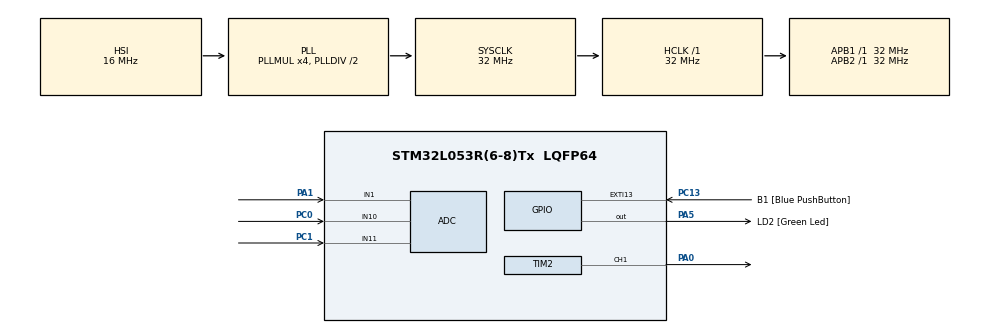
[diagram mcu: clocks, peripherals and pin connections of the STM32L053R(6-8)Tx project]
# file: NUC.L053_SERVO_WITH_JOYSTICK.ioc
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ADC.ContinuousConvMode=ENABLE
ADC.SamplingTime=ADC_SAMPLETIME_160CYCLES_5
Dma.ADC.0.Direction=DMA_PERIPH_TO_MEMORY
Dma.ADC.0.Instance=DMA1_Channel1
Dma.ADC.0.MemDataAlignment=DMA_MDATAALIGN_WORD
Dma.ADC.0.MemInc=DMA_MINC_ENABLE
Dma.ADC.0.Mode=DMA_CIRCULAR
Dma.ADC.0.PeriphDataAlignment=DMA_PDATAALIGN_WORD
Dma.ADC.0.PeriphInc=DMA_PINC_DISABLE
Dma.ADC.0.Priority=DMA_PRIORITY_LOW
Dma.Request0=ADC
Mcu.Family=STM32L0
Mcu.Name=STM32L053R(6-8)Tx
Mcu.Package=LQFP64
NVIC.DMA1_Channel1_IRQn=true\:0\:0\:false\:false\:true\:false\:true\:true
PA0.Signal=S_TIM2_CH1
PA1.Mode=IN1
PA1.Signal=ADC_IN1
PA13.GPIO_Label=TMS
PA13.Signal=SYS_SWDIO
PA14.GPIO_Label=TCK
PA14.Signal=SYS_SWCLK
PA2.GPIO_Label=USART_TX
PA2.Signal=USART2_TX
PA3.GPIO_Label=USART_RX
PA3.Signal=USART2_RX
PA5.GPIO_Label=LD2 [Green Led]
PA5.Signal=GPIO_Output
PC0.Mode=IN10
PC0.Signal=ADC_IN10
PC1.Mode=IN11
PC1.Signal=ADC_IN11
PC13.GPIO_Label=B1 [Blue PushButton]
PC13.GPIO_ModeDefaultEXTI=GPIO_MODE_IT_FALLING
PC13.Signal=GPXTI13
PC14-OSC32_IN.Signal=RCC_OSC32_IN
PC15-OSC32_OUT.Signal=RCC_OSC32_OUT
PH0-OSC_IN.Signal=RCC_OSC_IN
PH1-OSC_OUT.Signal=RCC_OSC_OUT
ProjectManager.HeapSize=0x200
ProjectManager.StackSize=0x400
ProjectManager.TargetToolchain=STM32CubeIDE
RCC.AHBFreq_Value=32000000
RCC.APB1Freq_Value=32000000
RCC.APB1TimFreq_Value=32000000
RCC.APB2Freq_Value=32000000
RCC.APB2TimFreq_Value=32000000
RCC.HCLKFreq_Value=32000000
RCC.HSE_VALUE=8000000
RCC.HSI16_VALUE=16000000
RCC.HSI48_VALUE=48000000
RCC.HSI_VALUE=16000000
RCC.LSEState=RCC_LSE_ON
RCC.LSE_VALUE=32768
RCC.MSI_VALUE=2097000
RCC.PLLMUL=RCC_PLLMUL_4
RCC.SYSCLKFreq_VALUE=32000000
RCC.SYSCLKSource=RCC_SYSCLKSOURCE_PLLCLK
RCC.VCOOutputFreq_Value=64000000
SH.S_TIM2_CH1.0=TIM2_CH1,PWM Generation1 CH1
TIM2.Channel-PWM\ Generation1\ CH1=TIM_CHANNEL_1
TIM2.Period=19999
TIM2.Prescaler=32-1
board=NUCLEO-L053R8

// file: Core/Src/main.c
/* USER CODE BEGIN Header */
/**
  ******************************************************************************
  * @file           : main.c
  * @brief          : Main program body
  ******************************************************************************
  * @attention
  *
  * Copyright (c) 2023 STMicroelectronics.
  * All rights reserved.
  *
  * This software is licensed under terms that can be found in the LICENSE file
  * in the root directory of this software component.
  * If no LICENSE file comes with this software, it is provided AS-IS.
  *
  ******************************************************************************
  */
/* USER CODE END Header */
#include "main.h"
#include "adc.h"
#include "dma.h"
#include "tim.h"
#include "gpio.h"

/* USER CODE BEGIN PV */
uint32_t buffer[5];
uint32_t i;
int map(int x, int in_min, int in_max, int out_min, int out_max) {
    return (x - in_min) * (out_max - out_min) / (in_max - in_min) + out_min;
}
/* USER CODE END PV */

void SystemClock_Config(void);

int main(void)
{

  /* MCU Configuration--------------------------------------------------------*/

  /* Reset of all peripherals, Initializes the Flash interface and the Systick. */
  HAL_Init();

  /* Configure the system clock */
  SystemClock_Config();

  /* Initialize all configured peripherals */
  MX_GPIO_Init();
  MX_DMA_Init();
  MX_ADC_Init();
  MX_TIM2_Init();
  /* USER CODE BEGIN 2 */
  HAL_TIM_PWM_Start(&htim2, TIM_CHANNEL_1);
  __HAL_TIM_SET_COMPARE(&htim2, TIM_CHANNEL_1, 400);
  i=1500;

  /* USER CODE END 2 */

  /* Infinite loop */
  /* USER CODE BEGIN WHILE */
  while (1)
  {
	  HAL_ADC_Start_DMA(&hadc, buffer, 2);
	  if(buffer[1]<=2500){
		  if(i==400){}
		  else{
	  __HAL_TIM_SET_COMPARE(&htim2, TIM_CHANNEL_1, i);
	  i--;
	  HAL_Delay(1);
		  }
	  }
	  else if(buffer[1]>=3200)
	  {
		  if(i==2500){}
		  		  else{
		  __HAL_TIM_SET_COMPARE(&htim2, TIM_CHANNEL_1, i);
		  i++;
		  HAL_Delay(1);
		  		  }
	  }

    /* USER CODE END WHILE */

  }
}

void SystemClock_Config(void)
{
  RCC_OscInitTypeDef RCC_OscInitStruct = {0};
  RCC_ClkInitTypeDef RCC_ClkInitStruct = {0};

  /** Configure the main internal regulator output voltage
  */
  __HAL_PWR_VOLTAGESCALING_CONFIG(PWR_REGULATOR_VOLTAGE_SCALE1);

  /** Initializes the RCC Oscillators according to the specified parameters
  * in the RCC_OscInitTypeDef structure.
  */
  RCC_OscInitStruct.OscillatorType = RCC_OSCILLATORTYPE_HSI;
  RCC_OscInitStruct.HSIState = RCC_HSI_ON;
  RCC_OscInitStruct.HSICalibrationValue = RCC_HSICALIBRATION_DEFAULT;
  RCC_OscInitStruct.PLL.PLLState = RCC_PLL_ON;
  RCC_OscInitStruct.PLL.PLLSource = RCC_PLLSOURCE_HSI;
  RCC_OscInitStruct.PLL.PLLMUL = RCC_PLLMUL_4;
  RCC_OscInitStruct.PLL.PLLDIV = RCC_PLLDIV_2;
  if (HAL_RCC_OscConfig(&RCC_OscInitStruct) != HAL_OK)
  {
    Error_Handler();
  }

  /** Initializes the CPU, AHB and APB buses clocks
  */
  RCC_ClkInitStruct.ClockType = RCC_CLOCKTYPE_HCLK|RCC_CLOCKTYPE_SYSCLK
                              |RCC_CLOCKTYPE_PCLK1|RCC_CLOCKTYPE_PCLK2;
  RCC_ClkInitStruct.SYSCLKSource = RCC_SYSCLKSOURCE_PLLCLK;
  RCC_ClkInitStruct.AHBCLKDivider = RCC_SYSCLK_DIV1;
  RCC_ClkInitStruct.APB1CLKDivider = RCC_HCLK_DIV1;
  RCC_ClkInitStruct.APB2CLKDivider = RCC_HCLK_DIV1;

  if (HAL_RCC_ClockConfig(&RCC_ClkInitStruct, FLASH_LATENCY_1) != HAL_OK)
  {
    Error_Handler();
  }
}

void Error_Handler(void)
{
  __disable_irq();
  while (1)
  {
  }
}
